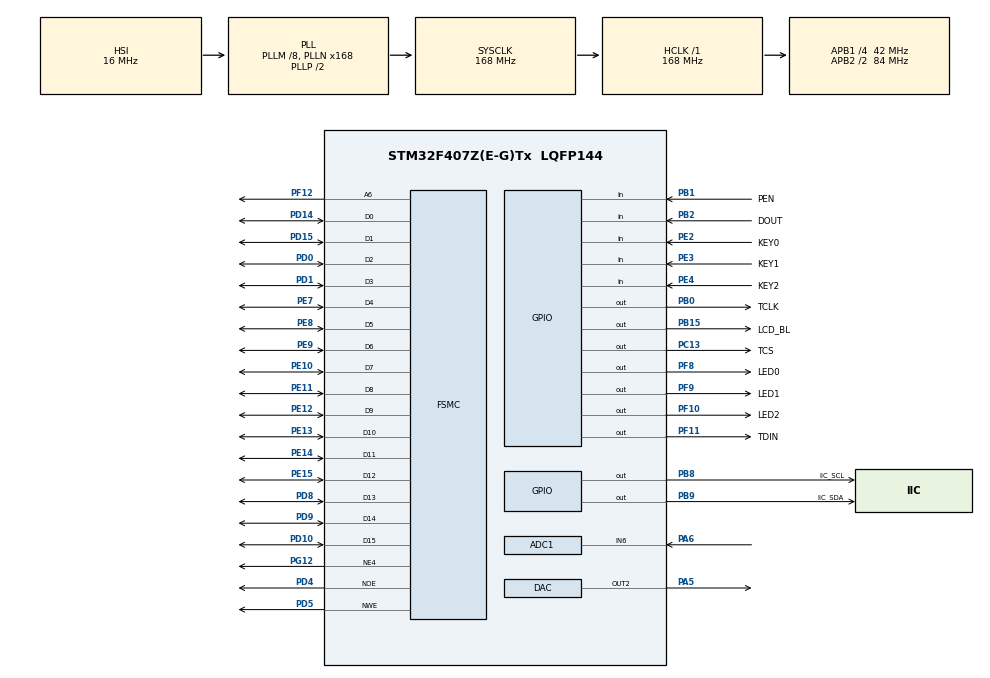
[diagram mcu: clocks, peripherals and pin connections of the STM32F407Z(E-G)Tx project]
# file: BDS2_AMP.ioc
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Mcu.Family=STM32F4
FSMC.AddressSetupTime1=0x0f
PE7.GPIO_PuPd=GPIO_PULLUP
PH0-OSC_IN.Signal=RCC_OSC_IN
RCC.CortexFreq_Value=168000000
SH.FSMC_D1_DA1.0=FSMC_D1,16b-d1
ADC1.ContinuousConvMode=ENABLE
SH.FSMC_A6.0=FSMC_A6,A6_1
ADC1.SamplingTime-6\#ChannelRegularConversion=ADC_SAMPLETIME_3CYCLES
SH.FSMC_NWE.0=FSMC_NWE,Lcd1
PE8.GPIO_PuPd=GPIO_PULLUP
SH.FSMC_D0_DA0.0=FSMC_D0,16b-d1
PE10.GPIO_PuPd=GPIO_PULLUP
PF9.GPIO_Speed=GPIO_SPEED_FREQ_VERY_HIGH
PB0.GPIO_Label=TCLK
PD10.GPIO_PuPd=GPIO_PULLUP
FSMC.ExtendedBusTurnAroundDuration1=0
PD8.GPIO_PuPd=GPIO_PULLUP
PF10.GPIO_PuPd=GPIO_PULLUP
PB15.Signal=GPIO_Output
PF8.PinState=GPIO_PIN_SET
RCC.SYSCLKSource=RCC_SYSCLKSOURCE_PLLCLK
ProjectManager.StackSize=0x400
SH.COMP_DAC2_group.0=DAC_OUT2,DAC_OUT2
PD0.GPIO_Speed_High_Default=GPIO_SPEED_FREQ_VERY_HIGH
PE11.GPIO_PuPd=GPIO_PULLUP
PB1.GPIO_PuPd=GPIO_PULLUP
RCC.HCLKFreq_Value=168000000
PD4.Signal=FSMC_NOE
RCC.APB2TimFreq_Value=168000000
TIM3.Period=100-1
Dma.ADC1.0.Direction=DMA_PERIPH_TO_MEMORY
PF11.GPIO_Label=TDIN
PF12.Signal=FSMC_A6
PD0.Signal=FSMC_D2_DA2
PD8.Signal=FSMC_D13_DA13
Dma.ADC1.0.MemDataAlignment=DMA_MDATAALIGN_HALFWORD
PF10.GPIO_Label=LED2
RCC.AHBFreq_Value=168000000
PH0-OSC_IN.Mode=HSE-External-Oscillator
RCC.HSE_VALUE=25000000
PB2.Signal=GPIO_Input
ADC1.ScanConvMode=DISABLE
PC13-ANTI_TAMP.Signal=GPIO_Output
PE13.GPIO_PuPd=GPIO_PULLUP
ADC1.Channel-6\#ChannelRegularConversion=ADC_CHANNEL_6
PE13.Signal=FSMC_D10_DA10
SH.FSMC_D14_DA14.0=FSMC_D14,16b-d1
SH.FSMC_D10_DA10.0=FSMC_D10,16b-d1
PF8.GPIO_PuPd=GPIO_PULLUP
PE9.Signal=FSMC_D6_DA6
PA14.Mode=Serial_Wire
TIM3.Prescaler=840-1
PF11.Signal=GPIO_Output
PB1.GPIO_Label=PEN
Dma.ADC1.0.PeriphInc=DMA_PINC_DISABLE
SH.FSMC_D6_DA6.0=FSMC_D6,16b-d1
PE4.GPIO_Label=KEY2
PE2.Signal=GPIO_Input
PD14.GPIO_PuPd=GPIO_PULLUP
FSMC.BusTurnAroundDuration1=0
TIM6.Period=8-1
PE4.Signal=GPIO_Input
PE10.Signal=FSMC_D7_DA7
SH.FSMC_D5_DA5.0=FSMC_D5,16b-d1
PB2.GPIO_PuPd=GPIO_PULLUP
SH.FSMC_D4_DA4.0=FSMC_D4,16b-d1
PH1-OSC_OUT.Mode=HSE-External-Oscillator
Mcu.Package=LQFP144
PB9.Signal=GPIO_Output
PB1.Signal=GPIO_Input
PA6.Signal=ADCx_IN6
PB15.GPIO_PuPd=GPIO_PULLUP
PD15.GPIO_PuPd=GPIO_PULLUP
SH.FSMC_D13_DA13.0=FSMC_D13,16b-d1
PB9.GPIO_PuPd=GPIO_PULLUP
PF8.Signal=GPIO_Output
RCC.APB2CLKDivider=RCC_HCLK_DIV2
PB9.GPIO_Speed=GPIO_SPEED_FREQ_VERY_HIGH
SH.FSMC_D3_DA3.0=FSMC_D3,16b-d1
PG12.GPIO_PuPd=GPIO_PULLUP
RCC.APB1TimFreq_Value=84000000
Dma.ADC1.0.FIFOMode=DMA_FIFOMODE_DISABLE
SH.FSMC_D2_DA2.0=FSMC_D2,16b-d1
PE7.Signal=FSMC_D4_DA4
PF9.GPIO_PuPd=GPIO_PULLUP
ADC1.Rank-6\#ChannelRegularConversion=1
Dma.Request0=ADC1
PD9.GPIO_PuPd=GPIO_PULLUP
PE2.GPIO_Label=KEY0
PD15.Signal=FSMC_D1_DA1
VP_TIM3_VS_ClockSourceINT.Mode=Internal
PE12.GPIO_PuPd=GPIO_PULLUP
PG12.Signal=FSMC_NE4
FSMC.ExtendedAddressSetupTime1=9
SH.FSMC_D12_DA12.0=FSMC_D12,16b-d1
Dma.ADC1.0.Instance=DMA2_Stream0
PB9.GPIO_Label=IIC_SDA
PC13-ANTI_TAMP.GPIO_PuPd=GPIO_NOPULL
SH.ADCx_IN6.0=ADC1_IN6,IN6
PC13-ANTI_TAMP.GPIO_Label=TCS
FSMC.ExtendedMode1=FSMC_EXTENDED_MODE_ENABLE
PB8.GPIO_PuPd=GPIO_PULLUP
TIM6.Prescaler=21-1
PF10.GPIO_Speed=GPIO_SPEED_FREQ_VERY_HIGH
VP_TIM6_VS_ClockSourceINT.Mode=Enable_Timer
PD1.Signal=FSMC_D3_DA3
SH.FSMC_D9_DA9.0=FSMC_D9,16b-d1
PD9.Signal=FSMC_D14_DA14
PD5.Signal=FSMC_NWE
PD1.GPIO_PuPd=GPIO_PULLUP
RCC.APB1CLKDivider=RCC_HCLK_DIV4
SH.FSMC_D8_DA8.0=FSMC_D8,16b-d1
PF8.GPIO_Label=LED0
PB0.GPIO_Speed=GPIO_SPEED_FREQ_VERY_HIGH
PF11.GPIO_Speed=GPIO_SPEED_FREQ_VERY_HIGH
PD10.Signal=FSMC_D15_DA15
PA13.Signal=SYS_JTMS-SWDIO
PB8.GPIO_Label=IIC_SCL
PD4.GPIO_PuPd=GPIO_PULLUP
Dma.ADC1.0.PeriphDataAlignment=DMA_PDATAALIGN_HALFWORD
ProjectManager.TargetToolchain=STM32CubeIDE
FSMC.DataSetupTime1=60
Dma.ADC1.0.Mode=DMA_CIRCULAR
PF9.PinState=GPIO_PIN_SET
Dma.ADC1.0.Priority=DMA_PRIORITY_VERY_HIGH
PF9.GPIO_Label=LED1
PE11.Signal=FSMC_D8_DA8
RCC.LSE_VALUE=32768
PA5.Signal=COMP_DAC2_group
PE2.GPIO_PuPd=GPIO_PULLUP
SH.FSMC_D7_DA7.0=FSMC_D7,16b-d1
FSMC.ExtendedDataSetupTime1=8
board=custom
PG12.Mode=NorPsramChipSelect4_1
RCC.VCOOutputFreq_Value=336000000
NVIC.TIM3_IRQn=true\:3\:0\:true\:false\:true\:true\:true
RCC.APB2Freq_Value=84000000
PE14.Signal=FSMC_D11_DA11
PE15.Signal=FSMC_D12_DA12
PB15.GPIO_Label=LCD_BL
PE8.Signal=FSMC_D5_DA5
PF10.Signal=GPIO_Output
PB15.GPIO_Speed=GPIO_SPEED_FREQ_MEDIUM
PH1-OSC_OUT.Signal=RCC_OSC_OUT
PE3.GPIO_PuPd=GPIO_PULLUP
PD5.GPIO_PuPd=GPIO_PULLUP
PE14.GPIO_PuPd=GPIO_PULLUP
ADC1.DMAContinuousRequests=ENABLE
ADC1.NbrOfConversion=1
PA13.Mode=Serial_Wire
Mcu.Name=STM32F407Z(E-G)Tx
PE12.Signal=FSMC_D9_DA9
PE4.GPIO_PuPd=GPIO_PULLUP
PD14.Signal=FSMC_D0_DA0
RCC.48MHZClocksFreq_Value=84000000
RCC.SYSCLKFreq_VALUE=168000000
ADC1.master=1
SH.FSMC_D15_DA15.0=FSMC_D15,16b-d1
PA14.Signal=SYS_JTCK-SWCLK
Dma.ADC1.0.MemInc=DMA_MINC_ENABLE
PB2.GPIO_Label=DOUT
PE15.GPIO_PuPd=GPIO_PULLUP
ProjectManager.HeapSize=0x200
SH.FSMC_D11_DA11.0=FSMC_D11,16b-d1
PD0.GPIO_PuPd=GPIO_PULLUP
SH.FSMC_NOE.0=FSMC_NOE,Lcd1
PF9.Signal=GPIO_Output
RCC.HSI_VALUE=16000000
NVIC.PriorityGroup=NVIC_PRIORITYGROUP_2
ADC1.NbrOfConversionFlag=1
RCC.PLLM=8
RCC.PLLN=168
PF8.GPIO_Speed=GPIO_SPEED_FREQ_VERY_HIGH
PE3.Signal=GPIO_Input
PF12.GPIO_PuPd=GPIO_PULLUP
PB8.Signal=GPIO_Output
PE3.GPIO_Label=KEY1
RCC.APB1Freq_Value=42000000
PB8.GPIO_Speed=GPIO_SPEED_FREQ_VERY_HIGH
PF10.PinState=GPIO_PIN_SET
PB0.Signal=GPIO_Output
PB0.GPIO_PuPd=GPIO_PULLUP
PE9.GPIO_PuPd=GPIO_PULLUP

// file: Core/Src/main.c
/* USER CODE BEGIN Header */
/**
  ******************************************************************************
  * @file           : main.c
  * @brief          : Main program body
  ******************************************************************************
  * @attention
  *
  * <h2><center>&copy; Copyright (c) 2021 STMicroelectronics.
  * All rights reserved.</center></h2>
  *
  * This software component is licensed by ST under BSD 3-Clause license,
  * the "License"; You may not use this file except in compliance with the
  * License. You may obtain a copy of the License at:
  *                        opensource.org/licenses/BSD-3-Clause
  *
  ******************************************************************************
  */
/* USER CODE END Header */
#include "main.h"
#include "adc.h"
#include "dac.h"
#include "dma.h"
#include "tim.h"
#include "gpio.h"
#include "fsmc.h"

/* USER CODE BEGIN Includes */
#include "lcd.h"
#include "touch.h"
/* USER CODE END Includes */

void SystemClock_Config(void);
/* USER CODE BEGIN PFP */
u8 TP_CHECK(u16 x0, u16 y0, u16 x1, u16 y1);
/* USER CODE END PFP */

/* USER CODE BEGIN 0 */
uint8_t BOOST = 1;
uint32_t ADC_CAP = 0;
uint16_t pressTime = 0;
uint8_t presStatus = 0; //标记按键是否按下，防止连
// uint8_t PRE_BOOST;
/* USER CODE END 0 */

int main(void)
{

  /* MCU Configuration--------------------------------------------------------*/

  /* Reset of all peripherals, Initializes the Flash interface and the Systick. */
  HAL_Init();

  /* Configure the system clock */
  SystemClock_Config();

  /* Initialize all configured peripherals */
  MX_GPIO_Init();
  MX_DMA_Init();
  MX_DAC_Init();
  MX_FSMC_Init();
  MX_TIM3_Init();
  MX_ADC1_Init();
  MX_TIM6_Init();
  /* USER CODE BEGIN 2 */
  HAL_TIM_Base_Start_IT(&htim3);
  HAL_ADC_Start_DMA(&hadc1,(uint32_t *)&ADC_CAP,1);
  HAL_DAC_Start(&hdac,DAC1_CHANNEL_2);
  delay_init(168);
  LCD_Init();
	tp_dev.init();

  POINT_COLOR = RED;

  LCD_ShowString(72, 40, 96, 16, 16, (uint8_t *)"BOOST:   ");
	/*
  LCD_Fill(28,40,48,56,GRAY);
  LCD_Fill(32,48,44,49,GREEN);
  LCD_Fill(192,40,212,56,GRAY);
  LCD_Fill(196,48,208,49,RED);
  LCD_Fill(202,44,203,52,RED);
	*/

	LCD_Fill(28,110,48,126,GRAY);
  LCD_Fill(32,118,44,119,GREEN);
  LCD_Fill(192,110,212,126,GRAY);
  LCD_Fill(196,118,208,119,RED);
  LCD_Fill(202,114,203,122,RED);
  // LCD_ShowxNum(148,140,123,3,16,0);
  LCD_ShowxNum(148,40,BOOST,3,16,0);
  POINT_COLOR = GRAY;
  LCD_DrawRectangle(48,110,192,126);
	POINT_COLOR = RED;
	LCD_Fill(48, 110,BOOST*144.0/100.0+49.0, 126,GRAY);
	LCD_Fill(BOOST/100.0*144.0+49.0, 111,190, 125,WHITE);
  /* USER CODE END 2 */

  /* Infinite loop */
  while (1)
  {

    /* USER CODE BEGIN 3 */

	    tp_dev.scan(0);
			DAC->DHR12R2 = ((int32_t) ADC_CAP - 2048)* BOOST / 10 + 2048;
			// DAC->DHR12R2 = ADC_CAP;
	    if (tp_dev.sta & TP_PRES_DOWN)
	    {
	      if (pressTime == 0 || ((pressTime > 100) && (pressTime%50 == 0)))
	      {
					pressTime++;
	        presStatus = 1;

					if(TP_CHECK(48,110,192,126))
						{BOOST=100.0*((tp_dev.x[0]-48.0)/144.0);
							LCD_ShowxNum(148,40,BOOST,3,16,0);
						LCD_Fill(48, 110,tp_dev.x[0], 126,GRAY);
						LCD_Fill(tp_dev.x[0], 111,190, 125,WHITE);
						}

	        if(TP_CHECK(28,110,48,126)) {
	          BOOST = BOOST==1?1:BOOST-1;
	          LCD_ShowxNum(148,40,BOOST,3,16,0);
						LCD_Fill(48, 110,BOOST*144.0/100.0+49.0, 126,GRAY);
						LCD_Fill(BOOST/100.0*144.0+47.0, 111,190, 125,WHITE);
	        }
	        if(TP_CHECK(192,110,212,126)) {
	          BOOST = BOOST==100?100:BOOST+1;
	          LCD_ShowxNum(148,40,BOOST,3,16,0);
						LCD_Fill(48, 110,BOOST*144.0/100.0+49.0, 126,GRAY);
						LCD_Fill(BOOST/100.0*144.0+47.0, 111,190, 125,WHITE);
	        }
	      }
	    }
	    else {
	      presStatus = 0;
	      pressTime = 0;
	    }
	  }
  /* USER CODE END 3 */
}

void SystemClock_Config(void)
{
  RCC_OscInitTypeDef RCC_OscInitStruct = {0};
  RCC_ClkInitTypeDef RCC_ClkInitStruct = {0};

  /** Configure the main internal regulator output voltage
  */
  __HAL_RCC_PWR_CLK_ENABLE();
  __HAL_PWR_VOLTAGESCALING_CONFIG(PWR_REGULATOR_VOLTAGE_SCALE1);
  /** Initializes the RCC Oscillators according to the specified parameters
  * in the RCC_OscInitTypeDef structure.
  */
  RCC_OscInitStruct.OscillatorType = RCC_OSCILLATORTYPE_HSI;
  RCC_OscInitStruct.HSIState = RCC_HSI_ON;
  RCC_OscInitStruct.HSICalibrationValue = RCC_HSICALIBRATION_DEFAULT;
  RCC_OscInitStruct.PLL.PLLState = RCC_PLL_ON;
  RCC_OscInitStruct.PLL.PLLSource = RCC_PLLSOURCE_HSI;
  RCC_OscInitStruct.PLL.PLLM = 8;
  RCC_OscInitStruct.PLL.PLLN = 168;
  RCC_OscInitStruct.PLL.PLLP = RCC_PLLP_DIV2;
  RCC_OscInitStruct.PLL.PLLQ = 4;
  if (HAL_RCC_OscConfig(&RCC_OscInitStruct) != HAL_OK)
  {
    Error_Handler();
  }
  /** Initializes the CPU, AHB and APB buses clocks
  */
  RCC_ClkInitStruct.ClockType = RCC_CLOCKTYPE_HCLK|RCC_CLOCKTYPE_SYSCLK
                              |RCC_CLOCKTYPE_PCLK1|RCC_CLOCKTYPE_PCLK2;
  RCC_ClkInitStruct.SYSCLKSource = RCC_SYSCLKSOURCE_PLLCLK;
  RCC_ClkInitStruct.AHBCLKDivider = RCC_SYSCLK_DIV1;
  RCC_ClkInitStruct.APB1CLKDivider = RCC_HCLK_DIV4;
  RCC_ClkInitStruct.APB2CLKDivider = RCC_HCLK_DIV2;

  if (HAL_RCC_ClockConfig(&RCC_ClkInitStruct, FLASH_LATENCY_5) != HAL_OK)
  {
    Error_Handler();
  }
}

/* USER CODE BEGIN 4 */
u8 TP_CHECK(u16 x0, u16 y0, u16 x1, u16 y1)
{
	return (tp_dev.x[0] > x0 && tp_dev.y[0] > y0 && tp_dev.x[0] < x1 && tp_dev.y[0] < y1);
}
/* USER CODE END 4 */

void Error_Handler(void)
{
  __disable_irq();
  while (1)
  {
  }
}

/************************ (C) COPYRIGHT STMicroelectronics *****END OF FILE****/
